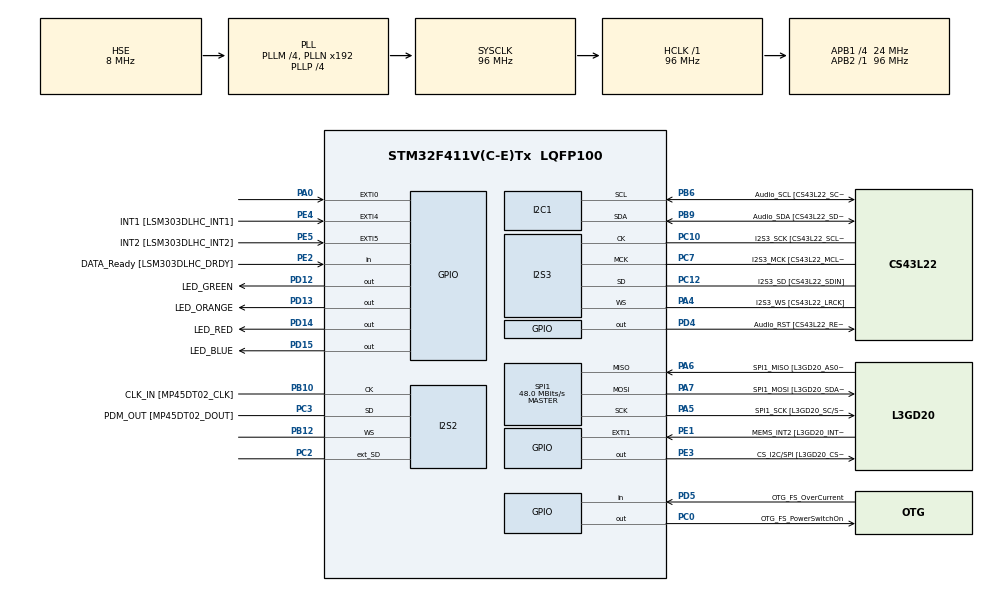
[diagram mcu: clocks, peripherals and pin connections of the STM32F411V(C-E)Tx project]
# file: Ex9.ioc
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FREERTOS.BinarySemaphores01=CriticalResourceSemaphore,Dynamic,NULL
FREERTOS.INCLUDE_vTaskDelayUntil=1
FREERTOS.Mutexes01=CriticalResourceMutex,Dynamic,NULL
FREERTOS.Tasks01=FlashGreenLed,0,128,StartFlashGreenLedTask,Default,NULL,Dynamic,NULL,NULL;FlashRedLed,0,128,StartFlashRedLedTask,Default,NULL,Dynamic,NULL,NULL;FlashOrangeLed,1,128,StartFlashOrangeLedTask,Default,NULL,Dynamic,NULL,NULL
FREERTOS.configUSE_NEWLIB_REENTRANT=1
I2S2.AudioFreq=I2S_AUDIOFREQ_96K
I2S2.ErrorAudioFreq=0.15 %
I2S2.FullDuplexMode=I2S_FULLDUPLEXMODE_ENABLE
I2S2.Instance=SPI$Index
I2S2.RealAudioFreq=96.153 KHz
I2S2.VirtualMode=I2S_MODE_MASTER
I2S3.AudioFreq=I2S_AUDIOFREQ_96K
I2S3.ErrorAudioFreq=-6.99 %
I2S3.FullDuplexMode=I2S_FULLDUPLEXMODE_DISABLE
I2S3.Instance=SPI$Index
I2S3.RealAudioFreq=89.285 KHz
I2S3.VirtualMode=I2S_MODE_MASTER
Mcu.Family=STM32F4
Mcu.Name=STM32F411V(C-E)Tx
Mcu.Package=LQFP100
NVIC.PriorityGroup=NVIC_PRIORITYGROUP_4
NVIC.TIM1_UP_TIM10_IRQn=true\:15\:0\:false\:false\:true\:false\:false\:true\:true
NVIC.TimeBase=TIM1_UP_TIM10_IRQn
NVIC.TimeBaseIP=TIM1
PA0-WKUP.GPIO_ModeDefaultEXTI=GPIO_MODE_EVT_RISING
PA0-WKUP.Signal=GPXTI0
PA10.GPIO_Label=OTG_FS_ID
PA10.Signal=USB_OTG_FS_ID
PA11.GPIO_Label=OTG_FS_DM
PA11.Signal=USB_OTG_FS_DM
PA12.GPIO_Label=OTG_FS_DP
PA12.Signal=USB_OTG_FS_DP
PA13.GPIO_Label=SWDIO
PA13.Mode=Serial_Wire
PA13.Signal=SYS_JTMS-SWDIO
PA14.GPIO_Label=SWCLK
PA14.Mode=Serial_Wire
PA14.Signal=SYS_JTCK-SWCLK
PA4.GPIO_Label=I2S3_WS [CS43L22_LRCK]
PA4.GPIO_Mode=GPIO_MODE_AF_PP
PA4.GPIO_PuPd=GPIO_NOPULL
PA4.GPIO_Speed=GPIO_SPEED_FREQ_LOW
PA4.Mode=Half_Duplex_Master
PA4.Signal=I2S3_WS
PA5.GPIO_Label=SPI1_SCK [L3GD20_SC/SPC]
PA5.Mode=Full_Duplex_Master
PA5.Signal=SPI1_SCK
PA6.GPIO_Label=SPI1_MISO [L3GD20_AS0/SDO]
PA6.Mode=Full_Duplex_Master
PA6.Signal=SPI1_MISO
PA7.GPIO_Label=SPI1_MOSI [L3GD20_SDA/SDI/SDO]
PA7.Mode=Full_Duplex_Master
PA7.Signal=SPI1_MOSI
PA9.GPIO_Label=VBUS_FS
PA9.Signal=USB_OTG_FS_VBUS
PB10.GPIO_Label=CLK_IN [MP45DT02_CLK]
PB10.Mode=Full_Duplex_Master
PB10.Signal=I2S2_CK
PB12.Mode=Full_Duplex_Master
PB12.Signal=I2S2_WS
PB3.GPIO_Label=SWO
PB3.Signal=SYS_JTDO-SWO
PB6.GPIO_Label=Audio_SCL [CS43L22_SCL]
PB6.GPIO_Mode=GPIO_MODE_AF_OD
PB6.GPIO_Pu=GPIO_PULLUP
PB6.GPIO_PuPd=GPIO_NOPULL
PB6.GPIO_Speed=GPIO_SPEED_FREQ_LOW
PB6.Mode=I2C
PB6.Signal=I2C1_SCL
PB9.GPIO_Label=Audio_SDA [CS43L22_SDA]
PB9.GPIO_Mode=GPIO_MODE_AF_OD
PB9.GPIO_Pu=GPIO_PULLUP
PB9.GPIO_PuPd=GPIO_NOPULL
PB9.GPIO_Speed=GPIO_SPEED_FREQ_LOW
PB9.Mode=I2C
PB9.Signal=I2C1_SDA
PC0.GPIO_Label=OTG_FS_PowerSwitchOn
PC0.PinState=GPIO_PIN_SET
PC0.Signal=GPIO_Output
PC10.GPIO_Label=I2S3_SCK [CS43L22_SCLK]
PC10.GPIO_Mode=GPIO_MODE_AF_PP
PC10.GPIO_PuPd=GPIO_NOPULL
PC10.GPIO_Speed=GPIO_SPEED_FREQ_LOW
PC10.Mode=Half_Duplex_Master
PC10.Signal=I2S3_CK
PC12.GPIO_Label=I2S3_SD [CS43L22_SDIN]
PC12.GPIO_Mode=GPIO_MODE_AF_PP
PC12.GPIO_PuPd=GPIO_NOPULL
PC12.GPIO_Speed=GPIO_SPEED_FREQ_LOW
PC12.Mode=Half_Duplex_Master
PC12.Signal=I2S3_SD
PC14-OSC32_IN.GPIO_Label=PC14-OSC32_IN
PC14-OSC32_IN.Mode=LSE-External-Oscillator
PC14-OSC32_IN.Signal=RCC_OSC32_IN
PC15-OSC32_OUT.GPIO_Label=PC15-OSC32_OUT
PC15-OSC32_OUT.Mode=LSE-External-Oscillator
PC15-OSC32_OUT.Signal=RCC_OSC32_OUT
PC2.Mode=Full_Duplex_Master
PC2.Signal=I2S2_ext_SD
PC3.GPIO_Label=PDM_OUT [MP45DT02_DOUT]
PC3.Mode=Full_Duplex_Master
PC3.Signal=I2S2_SD
PC7.GPIO_Label=I2S3_MCK [CS43L22_MCLK]
PC7.GPIO_Mode=GPIO_MODE_AF_PP
PC7.GPIO_PuPd=GPIO_NOPULL
PC7.GPIO_Speed=GPIO_SPEED_FREQ_LOW
PC7.Mode=Master_Clock_Activated
PC7.Signal=I2S3_MCK
PD12.GPIO_Label=LED_GREEN
PD12.GPIO_PuPd=GPIO_NOPULL
PD12.GPIO_Speed=GPIO_SPEED_FREQ_LOW
PD12.Signal=GPIO_Output
PD13.GPIO_Label=LED_ORANGE
PD13.GPIO_PuPd=GPIO_NOPULL
PD13.GPIO_Speed=GPIO_SPEED_FREQ_LOW
PD13.Signal=GPIO_Output
PD14.GPIO_Label=LED_RED
PD14.GPIO_PuPd=GPIO_NOPULL
PD14.GPIO_Speed=GPIO_SPEED_FREQ_LOW
PD14.Signal=GPIO_Output
PD15.GPIO_Label=LED_BLUE
PD15.GPIO_PuPd=GPIO_NOPULL
PD15.GPIO_Speed=GPIO_SPEED_FREQ_LOW
PD15.Signal=GPIO_Output
PD4.GPIO_Label=Audio_RST [CS43L22_RESET]
PD4.Signal=GPIO_Output
PD5.GPIO_Label=OTG_FS_OverCurrent
PD5.Signal=GPIO_Input
PE1.GPIO_Label=MEMS_INT2 [L3GD20_INT2]
PE1.GPIO_ModeDefaultEXTI=GPIO_MODE_EVT_RISING
PE1.Signal=GPXTI1
PE2.GPIO_Label=DATA_Ready [LSM303DLHC_DRDY]
PE2.Signal=GPIO_Input
PE3.GPIO_Label=CS_I2C/SPI [L3GD20_CS_I2C/SPI]
PE3.Signal=GPIO_Output
PE4.GPIO_Label=INT1 [LSM303DLHC_INT1]
PE4.GPIO_ModeDefaultEXTI=GPIO_MODE_EVT_RISING
PE4.Signal=GPXTI4
PE5.GPIO_Label=INT2 [LSM303DLHC_INT2]
PE5.GPIO_ModeDefaultEXTI=GPIO_MODE_EVT_RISING
PE5.Signal=GPXTI5
PH0\ -\ OSC_IN.GPIO_Label=PH0-OSC_IN
PH0\ -\ OSC_IN.Mode=HSE-External-Oscillator
PH0\ -\ OSC_IN.Signal=RCC_OSC_IN
PH1\ -\ OSC_OUT.GPIO_Label=PH1-OSC_OUT
PH1\ -\ OSC_OUT.Mode=HSE-External-Oscillator
PH1\ -\ OSC_OUT.Signal=RCC_OSC_OUT
ProjectManager.HeapSize=0x200
ProjectManager.StackSize=0x400
ProjectManager.TargetToolchain=STM32CubeIDE
RCC.48MHZClocksFreq_Value=48000000
RCC.AHBFreq_Value=96000000
RCC.APB1CLKDivider=RCC_HCLK_DIV4
RCC.APB1Freq_Value=24000000
RCC.APB1TimFreq_Value=48000000
RCC.APB2Freq_Value=96000000
RCC.APB2TimFreq_Value=96000000
RCC.CortexFreq_Value=96000000
RCC.HCLKFreq_Value=96000000
RCC.HSE_VALUE=8000000
RCC.HSI_VALUE=16000000
RCC.PLLI2SM=5
RCC.PLLI2SN=200
RCC.PLLM=4
RCC.PLLP=RCC_PLLP_DIV4
RCC.PLLQ=8
RCC.PLLSourceVirtual=RCC_PLLSOURCE_HSE
RCC.SYSCLKFreq_VALUE=96000000
RCC.SYSCLKSource=RCC_SYSCLKSOURCE_PLLCLK
RCC.VCOOutputFreq_Value=384000000
SPI1.BaudRatePrescaler=SPI_BAUDRATEPRESCALER_2
SPI1.CalculateBaudRate=48.0 MBits/s
SPI1.Direction=SPI_DIRECTION_2LINES
SPI1.Mode=SPI_MODE_MASTER
SPI1.VirtualType=VM_MASTER
VP_FREERTOS_VS_CMSIS_V1.Mode=CMSIS_V1
VP_SYS_VS_tim1.Mode=TIM1
board=STM32F411E-DISCO

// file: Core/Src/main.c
/* USER CODE BEGIN Header */
/**
  ******************************************************************************
  * @file           : main.c
  * @brief          : Main program body
  ******************************************************************************
  * @attention
  *
  * Copyright (c) 2024 STMicroelectronics.
  * All rights reserved.
  *
  * This software is licensed under terms that can be found in the LICENSE file
  * in the root directory of this software component.
  * If no LICENSE file comes with this software, it is provided AS-IS.
  *
  ******************************************************************************
  */
/* USER CODE END Header */
#include "main.h"
#include "cmsis_os.h"

I2C_HandleTypeDef hi2c1;

I2S_HandleTypeDef hi2s2;
I2S_HandleTypeDef hi2s3;

SPI_HandleTypeDef hspi1;

osThreadId FlashGreenLedHandle;
osThreadId FlashRedLedHandle;
osThreadId FlashOrangeLedHandle;
osMutexId CriticalResourceMutexHandle;
osSemaphoreId CriticalResourceSemaphoreHandle;

void SystemClock_Config(void);
void PeriphCommonClock_Config(void);
static void MX_GPIO_Init(void);
static void MX_I2C1_Init(void);
static void MX_I2S2_Init(void);
static void MX_I2S3_Init(void);
static void MX_SPI1_Init(void);
void StartFlashGreenLedTask(void const * argument);
void StartFlashRedLedTask(void const * argument);
void StartFlashOrangeLedTask(void const * argument);

int main(void)
{

  /* MCU Configuration--------------------------------------------------------*/

  /* Reset of all peripherals, Initializes the Flash interface and the Systick. */
  HAL_Init();

  /* Configure the system clock */
  SystemClock_Config();

/* Configure the peripherals common clocks */
  PeriphCommonClock_Config();

  /* Initialize all configured peripherals */
  MX_GPIO_Init();
  MX_I2C1_Init();
  MX_I2S2_Init();
  MX_I2S3_Init();
  MX_SPI1_Init();

  /* Create the mutex(es) */
  /* definition and creation of CriticalResourceMutex */
  osMutexDef(CriticalResourceMutex);
  CriticalResourceMutexHandle = osMutexCreate(osMutex(CriticalResourceMutex));

  /* Create the semaphores(s) */
  /* definition and creation of CriticalResourceSemaphore */
  osSemaphoreDef(CriticalResourceSemaphore);
  CriticalResourceSemaphoreHandle = osSemaphoreCreate(osSemaphore(CriticalResourceSemaphore), 1);

  /* Create the thread(s) */
  /* definition and creation of FlashGreenLed */
  osThreadDef(FlashGreenLed, StartFlashGreenLedTask, osPriorityNormal, 0, 128);
  FlashGreenLedHandle = osThreadCreate(osThread(FlashGreenLed), NULL);

  /* definition and creation of FlashRedLed */
  osThreadDef(FlashRedLed, StartFlashRedLedTask, osPriorityNormal, 0, 128);
  FlashRedLedHandle = osThreadCreate(osThread(FlashRedLed), NULL);

  /* definition and creation of FlashOrangeLed */
  osThreadDef(FlashOrangeLed, StartFlashOrangeLedTask, osPriorityAboveNormal, 0, 128);
  FlashOrangeLedHandle = osThreadCreate(osThread(FlashOrangeLed), NULL);

  /* Start scheduler */
  osKernelStart();

  /* We should never get here as control is now taken by the scheduler */
  /* Infinite loop */
  while (1)
  {

  }
}

void SystemClock_Config(void)
{
  RCC_OscInitTypeDef RCC_OscInitStruct = {0};
  RCC_ClkInitTypeDef RCC_ClkInitStruct = {0};

  /** Configure the main internal regulator output voltage
  */
  __HAL_RCC_PWR_CLK_ENABLE();
  __HAL_PWR_VOLTAGESCALING_CONFIG(PWR_REGULATOR_VOLTAGE_SCALE1);

  /** Initializes the RCC Oscillators according to the specified parameters
  * in the RCC_OscInitTypeDef structure.
  */
  RCC_OscInitStruct.OscillatorType = RCC_OSCILLATORTYPE_HSE;
  RCC_OscInitStruct.HSEState = RCC_HSE_ON;
  RCC_OscInitStruct.PLL.PLLState = RCC_PLL_ON;
  RCC_OscInitStruct.PLL.PLLSource = RCC_PLLSOURCE_HSE;
  RCC_OscInitStruct.PLL.PLLM = 4;
  RCC_OscInitStruct.PLL.PLLN = 192;
  RCC_OscInitStruct.PLL.PLLP = RCC_PLLP_DIV4;
  RCC_OscInitStruct.PLL.PLLQ = 8;
  if (HAL_RCC_OscConfig(&RCC_OscInitStruct) != HAL_OK)
  {
    Error_Handler();
  }

  /** Initializes the CPU, AHB and APB buses clocks
  */
  RCC_ClkInitStruct.ClockType = RCC_CLOCKTYPE_HCLK|RCC_CLOCKTYPE_SYSCLK
                              |RCC_CLOCKTYPE_PCLK1|RCC_CLOCKTYPE_PCLK2;
  RCC_ClkInitStruct.SYSCLKSource = RCC_SYSCLKSOURCE_PLLCLK;
  RCC_ClkInitStruct.AHBCLKDivider = RCC_SYSCLK_DIV1;
  RCC_ClkInitStruct.APB1CLKDivider = RCC_HCLK_DIV4;
  RCC_ClkInitStruct.APB2CLKDivider = RCC_HCLK_DIV1;

  if (HAL_RCC_ClockConfig(&RCC_ClkInitStruct, FLASH_LATENCY_3) != HAL_OK)
  {
    Error_Handler();
  }
}

void PeriphCommonClock_Config(void)
{
  RCC_PeriphCLKInitTypeDef PeriphClkInitStruct = {0};

  /** Initializes the peripherals clock
  */
  PeriphClkInitStruct.PeriphClockSelection = RCC_PERIPHCLK_I2S;
  PeriphClkInitStruct.PLLI2S.PLLI2SN = 200;
  PeriphClkInitStruct.PLLI2S.PLLI2SM = 5;
  PeriphClkInitStruct.PLLI2S.PLLI2SR = 2;
  if (HAL_RCCEx_PeriphCLKConfig(&PeriphClkInitStruct) != HAL_OK)
  {
    Error_Handler();
  }
}

static void MX_I2C1_Init(void)
{

  hi2c1.Instance = I2C1;
  hi2c1.Init.ClockSpeed = 100000;
  hi2c1.Init.DutyCycle = I2C_DUTYCYCLE_2;
  hi2c1.Init.OwnAddress1 = 0;
  hi2c1.Init.AddressingMode = I2C_ADDRESSINGMODE_7BIT;
  hi2c1.Init.DualAddressMode = I2C_DUALADDRESS_DISABLE;
  hi2c1.Init.OwnAddress2 = 0;
  hi2c1.Init.GeneralCallMode = I2C_GENERALCALL_DISABLE;
  hi2c1.Init.NoStretchMode = I2C_NOSTRETCH_DISABLE;
  if (HAL_I2C_Init(&hi2c1) != HAL_OK)
  {
    Error_Handler();
  }

}

static void MX_I2S2_Init(void)
{

  hi2s2.Instance = SPI2;
  hi2s2.Init.Mode = I2S_MODE_MASTER_TX;
  hi2s2.Init.Standard = I2S_STANDARD_PHILIPS;
  hi2s2.Init.DataFormat = I2S_DATAFORMAT_16B;
  hi2s2.Init.MCLKOutput = I2S_MCLKOUTPUT_DISABLE;
  hi2s2.Init.AudioFreq = I2S_AUDIOFREQ_96K;
  hi2s2.Init.CPOL = I2S_CPOL_LOW;
  hi2s2.Init.ClockSource = I2S_CLOCK_PLL;
  hi2s2.Init.FullDuplexMode = I2S_FULLDUPLEXMODE_ENABLE;
  if (HAL_I2S_Init(&hi2s2) != HAL_OK)
  {
    Error_Handler();
  }

}

static void MX_I2S3_Init(void)
{

  hi2s3.Instance = SPI3;
  hi2s3.Init.Mode = I2S_MODE_MASTER_TX;
  hi2s3.Init.Standard = I2S_STANDARD_PHILIPS;
  hi2s3.Init.DataFormat = I2S_DATAFORMAT_16B;
  hi2s3.Init.MCLKOutput = I2S_MCLKOUTPUT_ENABLE;
  hi2s3.Init.AudioFreq = I2S_AUDIOFREQ_96K;
  hi2s3.Init.CPOL = I2S_CPOL_LOW;
  hi2s3.Init.ClockSource = I2S_CLOCK_PLL;
  hi2s3.Init.FullDuplexMode = I2S_FULLDUPLEXMODE_DISABLE;
  if (HAL_I2S_Init(&hi2s3) != HAL_OK)
  {
    Error_Handler();
  }

}

static void MX_SPI1_Init(void)
{

  /* SPI1 parameter configuration*/
  hspi1.Instance = SPI1;
  hspi1.Init.Mode = SPI_MODE_MASTER;
  hspi1.Init.Direction = SPI_DIRECTION_2LINES;
  hspi1.Init.DataSize = SPI_DATASIZE_8BIT;
  hspi1.Init.CLKPolarity = SPI_POLARITY_LOW;
  hspi1.Init.CLKPhase = SPI_PHASE_1EDGE;
  hspi1.Init.NSS = SPI_NSS_SOFT;
  hspi1.Init.BaudRatePrescaler = SPI_BAUDRATEPRESCALER_2;
  hspi1.Init.FirstBit = SPI_FIRSTBIT_MSB;
  hspi1.Init.TIMode = SPI_TIMODE_DISABLE;
  hspi1.Init.CRCCalculation = SPI_CRCCALCULATION_DISABLE;
  hspi1.Init.CRCPolynomial = 10;
  if (HAL_SPI_Init(&hspi1) != HAL_OK)
  {
    Error_Handler();
  }

}

static void MX_GPIO_Init(void)
{
  GPIO_InitTypeDef GPIO_InitStruct = {0};

  /* GPIO Ports Clock Enable */
  __HAL_RCC_GPIOE_CLK_ENABLE();
  __HAL_RCC_GPIOC_CLK_ENABLE();
  __HAL_RCC_GPIOH_CLK_ENABLE();
  __HAL_RCC_GPIOA_CLK_ENABLE();
  __HAL_RCC_GPIOB_CLK_ENABLE();
  __HAL_RCC_GPIOD_CLK_ENABLE();

  /*Configure GPIO pin Output Level */
  HAL_GPIO_WritePin(CS_I2C_SPI_GPIO_Port, CS_I2C_SPI_Pin, GPIO_PIN_RESET);

  /*Configure GPIO pin Output Level */
  HAL_GPIO_WritePin(OTG_FS_PowerSwitchOn_GPIO_Port, OTG_FS_PowerSwitchOn_Pin, GPIO_PIN_SET);

  /*Configure GPIO pin Output Level */
  HAL_GPIO_WritePin(GPIOD, LED_GREEN_Pin|LED_ORANGE_Pin|LED_RED_Pin|LED_BLUE_Pin
                          |Audio_RST_Pin, GPIO_PIN_RESET);

  /*Configure GPIO pin : DATA_Ready_Pin */
  GPIO_InitStruct.Pin = DATA_Ready_Pin;
  GPIO_InitStruct.Mode = GPIO_MODE_INPUT;
  GPIO_InitStruct.Pull = GPIO_NOPULL;
  HAL_GPIO_Init(DATA_Ready_GPIO_Port, &GPIO_InitStruct);

  /*Configure GPIO pin : CS_I2C_SPI_Pin */
  GPIO_InitStruct.Pin = CS_I2C_SPI_Pin;
  GPIO_InitStruct.Mode = GPIO_MODE_OUTPUT_PP;
  GPIO_InitStruct.Pull = GPIO_NOPULL;
  GPIO_InitStruct.Speed = GPIO_SPEED_FREQ_LOW;
  HAL_GPIO_Init(CS_I2C_SPI_GPIO_Port, &GPIO_InitStruct);

  /*Configure GPIO pins : INT1_Pin INT2_Pin MEMS_INT2_Pin */
  GPIO_InitStruct.Pin = INT1_Pin|INT2_Pin|MEMS_INT2_Pin;
  GPIO_InitStruct.Mode = GPIO_MODE_EVT_RISING;
  GPIO_InitStruct.Pull = GPIO_NOPULL;
  HAL_GPIO_Init(GPIOE, &GPIO_InitStruct);

  /*Configure GPIO pin : OTG_FS_PowerSwitchOn_Pin */
  GPIO_InitStruct.Pin = OTG_FS_PowerSwitchOn_Pin;
  GPIO_InitStruct.Mode = GPIO_MODE_OUTPUT_PP;
  GPIO_InitStruct.Pull = GPIO_NOPULL;
  GPIO_InitStruct.Speed = GPIO_SPEED_FREQ_LOW;
  HAL_GPIO_Init(OTG_FS_PowerSwitchOn_GPIO_Port, &GPIO_InitStruct);

  /*Configure GPIO pin : PA0 */
  GPIO_InitStruct.Pin = GPIO_PIN_0;
  GPIO_InitStruct.Mode = GPIO_MODE_EVT_RISING;
  GPIO_InitStruct.Pull = GPIO_NOPULL;
  HAL_GPIO_Init(GPIOA, &GPIO_InitStruct);

  /*Configure GPIO pins : LED_GREEN_Pin LED_ORANGE_Pin LED_RED_Pin LED_BLUE_Pin
                           Audio_RST_Pin */
  GPIO_InitStruct.Pin = LED_GREEN_Pin|LED_ORANGE_Pin|LED_RED_Pin|LED_BLUE_Pin
                          |Audio_RST_Pin;
  GPIO_InitStruct.Mode = GPIO_MODE_OUTPUT_PP;
  GPIO_InitStruct.Pull = GPIO_NOPULL;
  GPIO_InitStruct.Speed = GPIO_SPEED_FREQ_LOW;
  HAL_GPIO_Init(GPIOD, &GPIO_InitStruct);

  /*Configure GPIO pin : VBUS_FS_Pin */
  GPIO_InitStruct.Pin = VBUS_FS_Pin;
  GPIO_InitStruct.Mode = GPIO_MODE_INPUT;
  GPIO_InitStruct.Pull = GPIO_NOPULL;
  HAL_GPIO_Init(VBUS_FS_GPIO_Port, &GPIO_InitStruct);

  /*Configure GPIO pins : OTG_FS_ID_Pin OTG_FS_DM_Pin OTG_FS_DP_Pin */
  GPIO_InitStruct.Pin = OTG_FS_ID_Pin|OTG_FS_DM_Pin|OTG_FS_DP_Pin;
  GPIO_InitStruct.Mode = GPIO_MODE_AF_PP;
  GPIO_InitStruct.Pull = GPIO_NOPULL;
  GPIO_InitStruct.Speed = GPIO_SPEED_FREQ_VERY_HIGH;
  GPIO_InitStruct.Alternate = GPIO_AF10_OTG_FS;
  HAL_GPIO_Init(GPIOA, &GPIO_InitStruct);

  /*Configure GPIO pin : OTG_FS_OverCurrent_Pin */
  GPIO_InitStruct.Pin = OTG_FS_OverCurrent_Pin;
  GPIO_InitStruct.Mode = GPIO_MODE_INPUT;
  GPIO_InitStruct.Pull = GPIO_NOPULL;
  HAL_GPIO_Init(OTG_FS_OverCurrent_GPIO_Port, &GPIO_InitStruct);

}

/* USER CODE BEGIN 4 */
int Start_Flag = 1;
void Access_Function(){
	if(Start_Flag == 1){
		Start_Flag = 0;
	}else {
		HAL_GPIO_TogglePin(GPIOD, LED_BLUE_Pin);
	}//else
	for(int i=0;i<2000000;++i);
	Start_Flag = 1;
	return;
}//access function
/* USER CODE END 4 */

void StartFlashGreenLedTask(void const * argument)
{
  /* USER CODE BEGIN 5 */
  /* Infinite loop */
  for(;;)
  {
	  /*Exercise 9*/
	  HAL_GPIO_TogglePin(GPIOD, LED_GREEN_Pin);//green on
	  osMutexWait(CriticalResourceMutexHandle, osWaitForever);//Mutex lock (wait)
	  Access_Function();//access shared data
	  osMutexRelease(CriticalResourceMutexHandle);//Mutex unlock (signal)
	  osDelay(200);//200 Millisecond delay
	  HAL_GPIO_TogglePin(GPIOD, LED_GREEN_Pin);//green off
	  osDelay(200);//200 Millisecond delay
  }
  /* USER CODE END 5 */
}

void StartFlashRedLedTask(void const * argument)
{
  /* USER CODE BEGIN StartFlashRedLedTask */
  /* Infinite loop */
  for(;;)
  {
	  HAL_GPIO_TogglePin(GPIOD, LED_RED_Pin);//red on
	  osMutexWait(CriticalResourceMutexHandle, osWaitForever);//Mutex lock (wait)
	  Access_Function();//access shared data
	  osMutexRelease(CriticalResourceMutexHandle);//Mutex unlock (signal)
	  osDelay(550);//550 Millisecond delay
	  HAL_GPIO_TogglePin(GPIOD, LED_RED_Pin);//red off
	  osDelay(550);//550 Millisecond delay
  }
  /* USER CODE END StartFlashRedLedTask */
}

void StartFlashOrangeLedTask(void const * argument)
{
  /* USER CODE BEGIN StartFlashOrangeLedTask */
  /* Infinite loop */
  for(;;)
  {
	  HAL_GPIO_TogglePin(GPIOD, LED_ORANGE_Pin);//orange on
	  osDelay(50);//50 Millisecond delay
  }
  /* USER CODE END StartFlashOrangeLedTask */
}

void HAL_TIM_PeriodElapsedCallback(TIM_HandleTypeDef *htim)
{
  if (htim->Instance == TIM1) {
    HAL_IncTick();
  }
}

void Error_Handler(void)
{
  __disable_irq();
  while (1)
  {
  }
}
